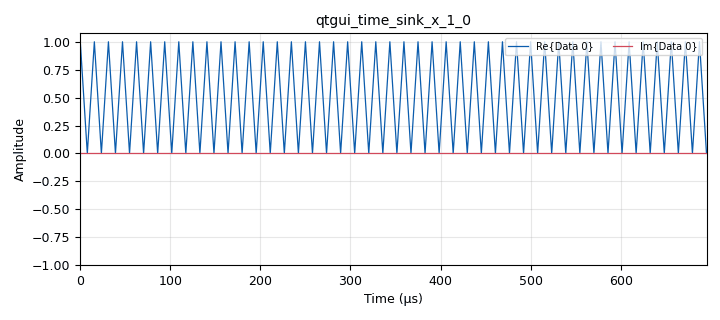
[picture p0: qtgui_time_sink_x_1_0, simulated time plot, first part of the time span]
options:
  parameters:
    author: bquantump
    generate_options: qt_gui
    id: vaulttest
    output_language: python
    title: Not titled yet
  states: {}

blocks:
- name: keyvault_0
  id: keyvault
  parameters:
    keys: '["secretconnectionstring", "seed", "scramble"]'
    value: grvaulttest
  states: {}
- name: samp_rate
  id: variable
  parameters:
    value: 32000*4
  states: {}
- name: scramble
  id: variable
  parameters:
    value: '"0"'
  states: {}
- name: secretconnectionstring
  id: variable
  parameters:
    value: '"0"'
  states: {}
- name: seed
  id: variable
  parameters:
    value: '"0"'
  states: {}
- name: azure_software_radio_blob_sink_0
  id: azure_software_radio_blob_sink
  parameters:
    authentication_method: connection_string
    blob_name: stuff2
    block_len: '500000'
    connection_str: mysecretstring
    container_name: demostore
    url: ''
  states: {state: disabled}
- name: blocks_char_to_float_0
  id: blocks_char_to_float
  parameters:
    scale: '1'
  states: {}
- name: blocks_float_to_complex_0
  id: blocks_float_to_complex
  parameters: {}
  states: {}
- name: blocks_throttle_0
  id: blocks_throttle
  parameters:
    samples_per_second: samp_rate
    type: byte
  states: {}
- name: blocks_vector_source_x_0
  id: blocks_vector_source_x
  parameters:
    repeat: 'True'
    type: byte
    vector: (1,0)
  states: {}
- name: digital_scrambler_bb_0
  id: digital_scrambler_bb
  parameters:
    len: '7'
    mask: int(scramble)
    seed: int(seed)
  states: {}
- name: qtgui_time_sink_x_1_0
  id: qtgui_time_sink_x
  parameters:
    size: '1024'
    srate: samp_rate
    type: complex
  states: {}

connections:
- [blocks_char_to_float_0, '0', blocks_float_to_complex_0, '0']
- [blocks_float_to_complex_0, '0', azure_software_radio_blob_sink_0, '0']
- [blocks_float_to_complex_0, '0', qtgui_time_sink_x_1_0, '0']
- [blocks_throttle_0, '0', digital_scrambler_bb_0, '0']
- [blocks_vector_source_x_0, '0', blocks_throttle_0, '0']
- [digital_scrambler_bb_0, '0', blocks_char_to_float_0, '0']

metadata:
  file_format: 1
